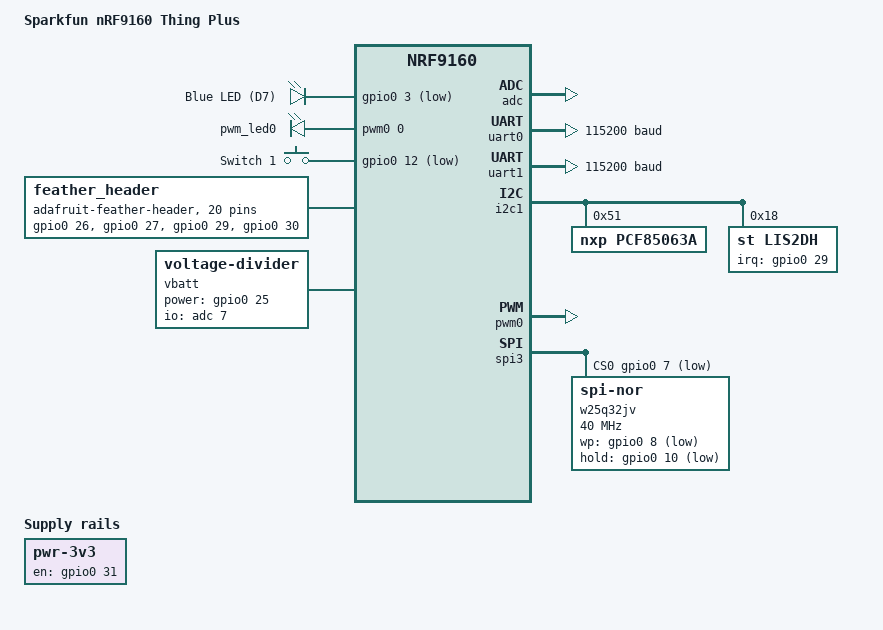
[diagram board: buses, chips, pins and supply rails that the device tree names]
/*
 * Copyright (c) 2018-2020 Nordic Semiconductor ASA
 * Copyright (c) 2020 Circuit Dojo LLC
 *
 * SPDX-License-Identifier: Apache-2.0
 */
#include "sparkfun_thing_plus_nrf9160_common-pinctrl.dtsi"
#include <zephyr/dt-bindings/input/input-event-codes.h>

/ {
	model = "Sparkfun nRF9160 Thing Plus";
	compatible = "sparkfun,thing-plus-nrf9160";

	chosen {
		zephyr,console = &uart0;
		zephyr,shell-uart = &uart0;
		zephyr,uart-mcumgr = &uart0;
	};

	leds {
		compatible = "gpio-leds";

		blue_led: led_0 {
			gpios = <&gpio0 3 GPIO_ACTIVE_LOW>;
			label = "Blue LED (D7)";
		};
	};

	pwmleds {
		compatible = "pwm-leds";

		pwm_led0: pwm_led_0 {
			pwms = <&pwm0 0 PWM_MSEC(20) PWM_POLARITY_INVERTED>;
		};
	};

	buttons {
		compatible = "gpio-keys";

		button0: button_0 {
			gpios = <&gpio0 12 (GPIO_PULL_UP | GPIO_ACTIVE_LOW)>;
			label = "Switch 1";
			zephyr,code = <INPUT_KEY_0>;
		};
	};

	/* TPS63031 Buck/Boost converter (provides 3.3V) */
	pwr-3v3 {
		compatible = "regulator-fixed";
		regulator-name = "pwr-3v3";
		enable-gpios = <&gpio0 31 GPIO_ACTIVE_HIGH>;
		regulator-always-on;
	};

	/* These aliases are provided for compatibility with samples */
	aliases {
		led0 = &blue_led;
		pwm-led0 = &pwm_led0;
		sw0 = &button0;
		mcuboot-button0 = &button0;
		mcuboot-led0 = &blue_led;
		watchdog0 = &wdt0;
		accel0 = &lis2dh;
	};

	/* Used for accessing other pins */
	feather_header: feather_connector {
		compatible = "adafruit-feather-header";
		#gpio-cells = <2>;
		gpio-map-mask = <0xffffffff 0xffffffc0>;
		gpio-map-pass-thru = <0 0x3f>;
		gpio-map = <12 0 &gpio0 26 0>,  /* SDA */
			   <13 0 &gpio0 27 0>,  /* SCL */
			   <14 0 &gpio0 29 0>,  /* PWM3 */
			   <15 0 &gpio0 30 0>,  /* PWM3 */
			   <16 0 &gpio0 0 0>,   /* PWM1 */
			   <17 0 &gpio0 1 0>,   /* PWM1 */
			   <18 0 &gpio0 2 0>,   /* PWM1 */
			   <19 0 &gpio0 3 0>,   /* PWM0 */
			   <20 0 &gpio0 4 0>,   /* PWM1 */
			   /* 11 not connected */
			   <10 0 &gpio0 24 0>,  /* TX */
			   <9 0 &gpio0 23 0>,   /* RX */
			   <8 0 &gpio0 22 0>,   /* MISO */
			   <7 0 &gpio0 21 0>,   /* MOSI */
			   <6 0 &gpio0 19 0>,   /* SCK */
			   <5 0 &gpio0 18 0>,   /* SS */
			   <4 0 &gpio0 17 0>,   /* ADC4 = AIN6 */
			   <3 0 &gpio0 16 0>,   /* ADC3 = AIN5 */
			   <2 0 &gpio0 15 0>,   /* ADC2 = AIN4 */
			   <1 0 &gpio0 14 0>,   /* ADC1 = AIN2 */
			   <0 0 &gpio0 13 0>;   /* ADC0 = AIN1 */
	};
};

&adc {
	status = "okay";
};

&gpiote {
	status = "okay";
};

&gpio0 {
	status = "okay";
};

&uart0 {
	status = "okay";
	current-speed = <115200>;
	pinctrl-0 = <&uart0_default>;
	pinctrl-1 = <&uart0_sleep>;
	pinctrl-names = "default", "sleep";
};

&uart1 {
	current-speed = <115200>;
	pinctrl-0 = <&uart1_default>;
	pinctrl-1 = <&uart1_sleep>;
	pinctrl-names = "default", "sleep";
};

&uart2 {
	pinctrl-0 = <&uart2_default>;
	pinctrl-1 = <&uart2_sleep>;
	pinctrl-names = "default", "sleep";
};

zephyr_i2c: &i2c1 {
	compatible = "nordic,nrf-twim";
	status = "okay";

	pinctrl-0 = <&i2c1_default>;
	pinctrl-1 = <&i2c1_sleep>;
	pinctrl-names = "default", "sleep";

	pcf85063a@51 {
		compatible = "nxp,pcf85063a";
		reg = <0x51>;
	};

	lis2dh: lis2dh@18 {
		compatible = "st,lis2dh";
		reg = <0x18>;
		irq-gpios = <&gpio0 29 0>;
	};
};

&pwm0 {
	status = "okay";
	pinctrl-0 = <&pwm0_default>;
	pinctrl-1 = <&pwm0_sleep>;
	pinctrl-names = "default", "sleep";
};

&spi3 {
	compatible = "nordic,nrf-spim";
	status = "okay";
	cs-gpios = <&gpio0 7 GPIO_ACTIVE_LOW>;
	pinctrl-0 = <&spi3_default>;
	pinctrl-1 = <&spi3_sleep>;
	pinctrl-names = "default", "sleep";

	w25q32jv: w25q32jv@0 {
		compatible = "jedec,spi-nor";
		reg = <0>;
		spi-max-frequency = <40000000>;
		wp-gpios = <&gpio0 8 GPIO_ACTIVE_LOW>;
		hold-gpios = <&gpio0 10 GPIO_ACTIVE_LOW>;
		size = <0x2000000>;
		has-dpd;
		t-enter-dpd = <3000>;
		t-exit-dpd = <30000>;
		jedec-id = [ef 40 16];
	};
};

/ {
	vbatt {
		compatible = "voltage-divider";
		io-channels = <&adc 7>;
		output-ohms = <100000>;
		full-ohms = <(100000 + 100000)>;
		power-gpios = <&gpio0 25 0>;
	};
};

/* Include default memory partition configuration file */
#include <nordic/nrf91xx_partition.dtsi>
